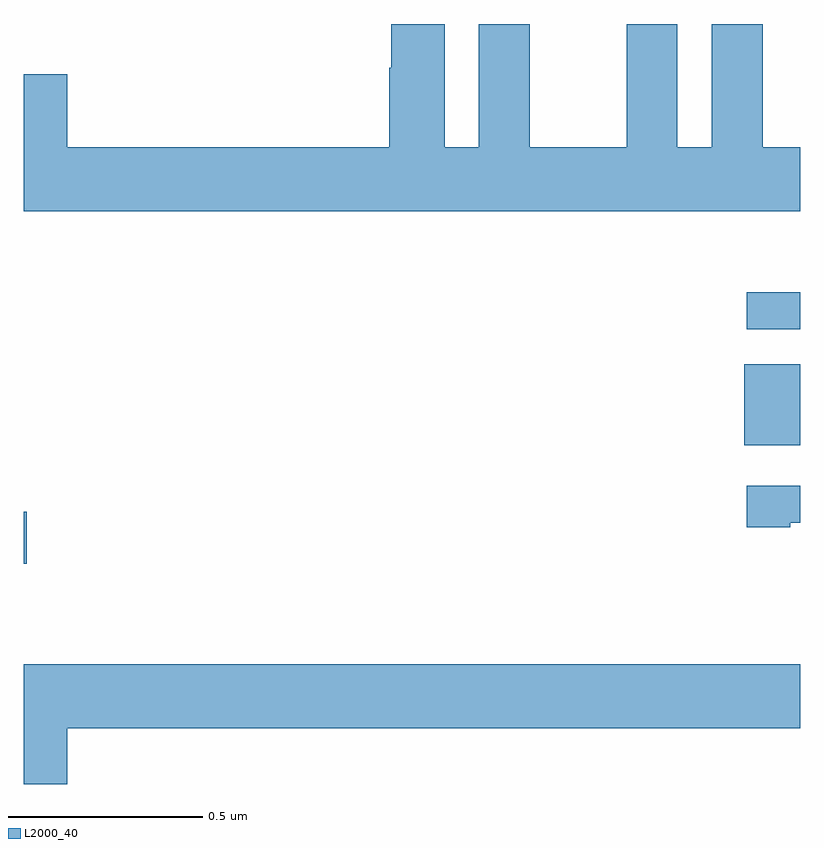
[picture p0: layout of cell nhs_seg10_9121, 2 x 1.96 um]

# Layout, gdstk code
import gdstk
lib = gdstk.Library(unit=1e-6, precision=1e-09)
def R(c, l, rs):  # rectangles x0, y0, x1, y1
    for r in rs: c.add(gdstk.rectangle(r[:2], r[2:], *l))
def P(c, l, *ps):  # polygons
    for p in ps: c.add(gdstk.Polygon(p, *l))
L2000_40 = (2000, 40)

nhs_seg10_9121 = lib.new_cell('nhs_seg10_9121')
R(nhs_seg10_9121, L2000_40, [(225,1306.067,225.007,1306.202), (226.856,1306.373,227,1306.582), (226.863,1306.671,227,1306.767)])
P(nhs_seg10_9121, L2000_40, [(227,1307.14),(226.903,1307.14),(226.903,1307.458),(226.772,1307.458),(226.772,1307.14),(226.684,1307.14),(226.684,1307.458),(226.553,1307.458),(226.553,1307.14),(226.303,1307.14),(226.303,1307.458),(226.172,1307.458),(226.172,1307.14),(226.084,1307.14),(226.084,1307.458),(225.947,1307.458),(225.947,1307.345),(225.941,1307.345),(225.941,1307.14),(225.112,1307.14),(225.112,1307.329),(225,1307.329),(225,1306.976),(227,1306.976)],
  [(226.975,1306.173),(227,1306.173),(227,1306.269),(226.863,1306.269),(226.863,1306.161),(226.975,1306.161)],
  [(225.112,1305.644),(227,1305.644),(227,1305.808),(225,1305.808),(225,1305.5),(225.112,1305.5)])

lib.write_gds('nhs_seg10_9121.gds')
